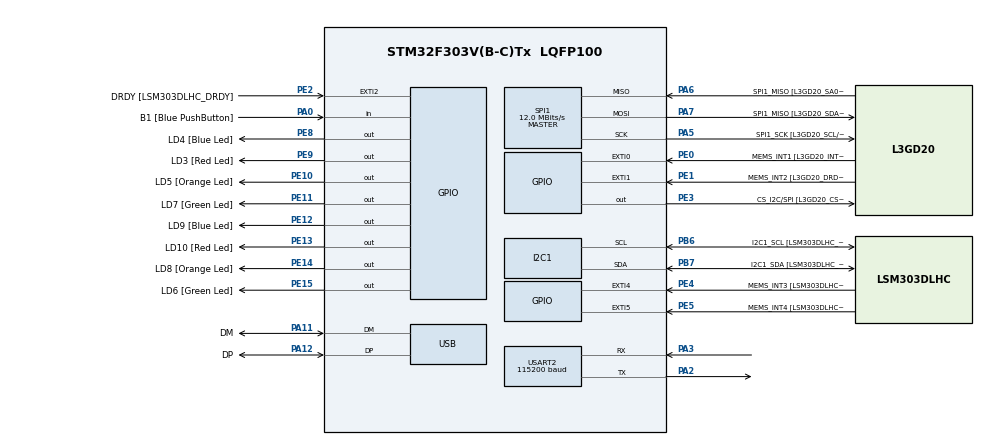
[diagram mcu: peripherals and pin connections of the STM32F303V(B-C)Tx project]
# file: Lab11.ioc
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I2C1.Timing=0x00201D2B
I2C1.Timing-I2C=0x2000090E
Mcu.Family=STM32F3
Mcu.Name=STM32F303V(B-C)Tx
Mcu.Package=LQFP100
NVIC.PriorityGroup=NVIC_PRIORITYGROUP_0
PA0.GPIO_Label=B1 [Blue PushButton]
PA0.Signal=GPIO_Input
PA11.GPIO_Label=DM
PA11.Mode=Device
PA11.Signal=USB_DM
PA12.GPIO_Label=DP
PA12.Mode=Device
PA12.Signal=USB_DP
PA13.GPIO_Label=SWDIO
PA13.Mode=Serial_Wire
PA13.Signal=SYS_JTMS-SWDIO
PA14.GPIO_Label=SWCLK
PA14.Mode=Serial_Wire
PA14.Signal=SYS_JTCK-SWCLK
PA2.Mode=Asynchronous
PA2.Signal=USART2_TX
PA3.Mode=Asynchronous
PA3.Signal=USART2_RX
PA5.GPIO_Label=SPI1_SCK [L3GD20_SCL/SPC]
PA5.Mode=Full_Duplex_Master
PA5.Signal=SPI1_SCK
PA6.GPIO_Label=SPI1_MISO [L3GD20_SA0/SDO]
PA6.Mode=Full_Duplex_Master
PA6.Signal=SPI1_MISO
PA7.GPIO_Label=SPI1_MISO [L3GD20_SDA/SDI/SDO]
PA7.Mode=Full_Duplex_Master
PA7.Signal=SPI1_MOSI
PB3.GPIO_Label=SWO
PB3.Signal=SYS_JTDO-TRACESWO
PB6.GPIO_Label=I2C1_SCL [LSM303DLHC_SCL]
PB6.GPIO_Pu=GPIO_PULLUP
PB6.Mode=I2C
PB6.Signal=I2C1_SCL
PB7.GPIO_Label=I2C1_SDA [LSM303DLHC_SDA]
PB7.GPIO_Pu=GPIO_PULLUP
PB7.Mode=I2C
PB7.Signal=I2C1_SDA
PC14-OSC32_IN.GPIO_Label=OSC32_IN
PC14-OSC32_IN.Signal=RCC_OSC32_IN
PC15-OSC32_OUT.GPIO_Label=OSC32_OUT
PC15-OSC32_OUT.Signal=RCC_OSC32_OUT
PE0.GPIO_Label=MEMS_INT1 [L3GD20_INT1]
PE0.GPIO_ModeDefaultEXTI=GPIO_MODE_EVT_RISING
PE0.Signal=GPXTI0
PE1.GPIO_Label=MEMS_INT2 [L3GD20_DRDY/INT2]
PE1.GPIO_ModeDefaultEXTI=GPIO_MODE_EVT_RISING
PE1.Signal=GPXTI1
PE10.GPIO_Label=LD5 [Orange Led]
PE10.Signal=GPIO_Output
PE11.GPIO_Label=LD7 [Green Led]
PE11.Signal=GPIO_Output
PE12.GPIO_Label=LD9 [Blue Led]
PE12.Signal=GPIO_Output
PE13.GPIO_Label=LD10 [Red Led]
PE13.Signal=GPIO_Output
PE14.GPIO_Label=LD8 [Orange Led]
PE14.Signal=GPIO_Output
PE15.GPIO_Label=LD6 [Green Led]
PE15.Signal=GPIO_Output
PE2.GPIO_Label=DRDY [LSM303DLHC_DRDY]
PE2.GPIO_ModeDefaultEXTI=GPIO_MODE_EVT_RISING
PE2.Signal=GPXTI2
PE3.GPIO_Label=CS_I2C/SPI [L3GD20_CS_I2C/SPI]
PE3.Signal=GPIO_Output
PE4.GPIO_Label=MEMS_INT3 [LSM303DLHC_INT1]
PE4.GPIO_ModeDefaultEXTI=GPIO_MODE_EVT_RISING
PE4.Signal=GPXTI4
PE5.GPIO_Label=MEMS_INT4 [LSM303DLHC_INT2]
PE5.GPIO_ModeDefaultEXTI=GPIO_MODE_EVT_RISING
PE5.Signal=GPXTI5
PE8.GPIO_Label=LD4 [Blue Led]
PE8.Signal=GPIO_Output
PE9.GPIO_Label=LD3 [Red Led]
PE9.Signal=GPIO_Output
PF0-OSC_IN.GPIO_Label=OSC_IN
PF0-OSC_IN.Mode=HSE-External-Clock-Source
PF0-OSC_IN.Signal=RCC_OSC_IN
PF1-OSC_OUT.GPIO_Label=OSC_OUT
PF1-OSC_OUT.Signal=RCC_OSC_OUT
ProjectManager.HeapSize=0x200
ProjectManager.StackSize=0x400
ProjectManager.TargetToolchain=CMake
RCC.AHBFreq_Value=48000000
RCC.APB1CLKDivider=RCC_HCLK_DIV2
RCC.APB1Freq_Value=24000000
RCC.APB1TimFreq_Value=48000000
RCC.APB2Freq_Value=48000000
RCC.APB2TimFreq_Value=48000000
RCC.CortexFreq_Value=48000000
RCC.HCLKFreq_Value=48000000
RCC.HSE_VALUE=8000000
RCC.HSI_VALUE=8000000
RCC.LSE_VALUE=32768
RCC.PLLMUL=RCC_PLL_MUL6
RCC.SYSCLKFreq_VALUE=48000000
RCC.SYSCLKSourceVirtual=RCC_SYSCLKSOURCE_PLLCLK
RCC.USBFreq_Value=48000000
SPI1.BaudRatePrescaler=SPI_BAUDRATEPRESCALER_4
SPI1.BaudRatePrescaler-Full_Duplex_Master=SPI_BAUDRATEPRESCALER_2
SPI1.CalculateBaudRate=12.0 MBits/s
SPI1.CalculateBaudRate-Full_Duplex_Master=24.0 MBits/s
SPI1.Direction=SPI_DIRECTION_2LINES
SPI1.Mode=SPI_MODE_MASTER
SPI1.Mode-Full_Duplex_Master=SPI_MODE_MASTER
SPI1.VirtualType=VM_MASTER
USART2.BaudRate=115200
USART2.VirtualMode-Asynchronous=VM_ASYNC
board=STM32F3DISCOVERY

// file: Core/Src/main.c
  /* USER CODE BEGIN Header */
  /**
    ******************************************************************************
    * @file           : main.c
    * @brief          : Main program body
    ******************************************************************************
    * @attention
    *
    * Copyright (c) 2026 STMicroelectronics.
    * All rights reserved.
    *
    * This software is licensed under terms that can be found in the LICENSE file
    * in the root directory of this software component.
    * If no LICENSE file comes with this software, it is provided AS-IS.
    *
    ******************************************************************************
    */
  /* USER CODE END Header */
  /* Includes ------------------------------------------------------------------*/
  #include "main.h"

  /* Private includes ----------------------------------------------------------*/
  /* USER CODE BEGIN Includes */
  #include <stdio.h>
  #include <string.h>
  #include <math.h>
  /* USER CODE END Includes */

  /* Private typedef -----------------------------------------------------------*/

  /* Private define ------------------------------------------------------------*/

  /* Private macro -------------------------------------------------------------*/

  /* Private variables ---------------------------------------------------------*/
  I2C_HandleTypeDef hi2c1;

  SPI_HandleTypeDef hspi1;

  UART_HandleTypeDef huart2;

  PCD_HandleTypeDef hpcd_USB_FS;

  /* USER CODE BEGIN PV */
  //task02 begin
  // PID Constants
  float Kp = 10.0f;
  float Ki = 0.0f;
  float Kd = 0.0f;

  // PID State Variables
  float setpoint = 0.0f;
  float integral = 0.0f;
  float prev_error = 0.0f;
  uint32_t prev_time = 0;
  //task02 end
  /* USER CODE END PV */

  /* Private function prototypes -----------------------------------------------*/
  void SystemClock_Config(void);
  static void MX_GPIO_Init(void);
  static void MX_I2C1_Init(void);
  static void MX_SPI1_Init(void);
  static void MX_USB_PCD_Init(void);
  static void MX_USART2_UART_Init(void);

  /* Private user code ---------------------------------------------------------*/

  /**
    * @brief  The application entry point.
    * @retval int
    */
  int main(void)
  {

    /* MCU Configuration--------------------------------------------------------*/

    /* Reset of all peripherals, Initializes the Flash interface and the Systick. */
    HAL_Init();

    /* Configure the system clock */
    SystemClock_Config();

    /* Initialize all configured peripherals */
    MX_GPIO_Init();
    MX_I2C1_Init();
    MX_SPI1_Init();
    MX_USB_PCD_Init();
    MX_USART2_UART_Init();
    /* USER CODE BEGIN 2 */
    //task01 begin
    // Variables for LSM303AGR initialization
    uint8_t wake_data = 0x67;
    uint8_t mode_data = 0x00;

    // Wake up the accelerometer by writing 0x67 to the CTRL_REG1_A register (0x20)
    HAL_I2C_Mem_Write(&hi2c1, 0x32, 0x20, 1, &wake_data, 1, HAL_MAX_DELAY);

    // Set the accelerometer to Normal mode by writing 0x00 to the CTRL_REG4_A register (0x23)
    HAL_I2C_Mem_Write(&hi2c1, 0x32, 0x23, 1, &mode_data, 1, HAL_MAX_DELAY);
    //task01 end
    /* USER CODE END 2 */

    /* Infinite loop */
    /* USER CODE BEGIN WHILE */
    // Test UART transmission before any I2C communication starts
    HAL_UART_Transmit(&huart2, (uint8_t*)"Booting\r\n", 9, HAL_MAX_DELAY);
    while (1)
    {
      /* USER CODE END WHILE */

      /* USER CODE BEGIN 3 */
      //task02 begin
      // 1. Read I2C Data
      uint8_t x_l = 0, x_h = 0;
      uint8_t y_l = 0, y_h = 0;
      uint8_t z_l = 0, z_h = 0;

      HAL_I2C_Mem_Read(&hi2c1, 0x33, 0x28, 1, &x_l, 1, HAL_MAX_DELAY);
      HAL_I2C_Mem_Read(&hi2c1, 0x33, 0x29, 1, &x_h, 1, HAL_MAX_DELAY);
      HAL_I2C_Mem_Read(&hi2c1, 0x33, 0x2A, 1, &y_l, 1, HAL_MAX_DELAY);
      HAL_I2C_Mem_Read(&hi2c1, 0x33, 0x2B, 1, &y_h, 1, HAL_MAX_DELAY);
      HAL_I2C_Mem_Read(&hi2c1, 0x33, 0x2C, 1, &z_l, 1, HAL_MAX_DELAY);
      HAL_I2C_Mem_Read(&hi2c1, 0x33, 0x2D, 1, &z_h, 1, HAL_MAX_DELAY);

      int16_t x_raw = (int16_t)((x_h << 8) | x_l);
      int16_t y_raw = (int16_t)((y_h << 8) | y_l);
      int16_t z_raw = (int16_t)((z_h << 8) | z_l);

      // 2. Calculate Pitch and Roll Angles
    float x_accel = x_raw * 3.9f;
    float y_accel = y_raw * 3.9f;
    float z_accel = z_raw * 3.9f;

    // Calculate the raw noisy angle
    float raw_pitch = atan2(-x_accel, sqrt((y_accel * y_accel) + (z_accel * z_accel))) * 57.2958f;
    float raw_roll  = atan2(y_accel, z_accel) * 57.2958f;

    // Apply a Low-Pass Filter (Trust 80% of the old smoothed value, and only 20% of the new noisy value)
    static float pitch_angle = 0.0f; // 'static' retains the value between loop iterations
    static float roll_angle = 0.0f;

    pitch_angle = (0.5f * pitch_angle) + (0.5f * raw_pitch);
    roll_angle  = (0.5f * roll_angle)  + (0.5f * raw_roll);

      // 3. Calculate Time Step (dt)
      uint32_t current_time = HAL_GetTick();
      float dt = (current_time - prev_time) / 1000.0f;
      prev_time = current_time;
      if (dt <= 0.0f) dt = 0.01f;

      // 4. PID Calculations[cite: 9]
      float error = setpoint - pitch_angle;
      float P_out = Kp * error;

      integral += (error * dt);
      if (integral > 400.0f) integral = 400.0f;
      if (integral < -400.0f) integral = -400.0f;
      float I_out = Ki * integral;

      float derivative = (error - prev_error) / dt;
      float D_out = Kd * derivative;

      float pid_output = P_out + I_out + D_out;
      prev_error = error;

      // 5. Motor Speed and Direction Mapping
      float motor_speed = fabs(pid_output);
      if (motor_speed > 999.0f) motor_speed = 999.0f; // Constrain to your Timer ARR

      // NOTE: Make sure GPIOD pins 6, 7, 8, 12 and htim3 are configured in CubeMX!
      if (pid_output > 0)
      {
          // Drive Forward[cite: 113]
          HAL_GPIO_WritePin(GPIOD, GPIO_PIN_12, GPIO_PIN_SET);   // Right Motor Dir[cite: 18]
          HAL_GPIO_WritePin(GPIOD, GPIO_PIN_8,  GPIO_PIN_RESET);

          HAL_GPIO_WritePin(GPIOD, GPIO_PIN_7,  GPIO_PIN_SET);   // Left Motor Dir[cite: 18]
          HAL_GPIO_WritePin(GPIOD, GPIO_PIN_6,  GPIO_PIN_RESET);
      }
      else
      {
          // Drive Backward[cite: 113]
          HAL_GPIO_WritePin(GPIOD, GPIO_PIN_12, GPIO_PIN_RESET); // Right Motor Dir[cite: 18]
          HAL_GPIO_WritePin(GPIOD, GPIO_PIN_8,  GPIO_PIN_SET);

          HAL_GPIO_WritePin(GPIOD, GPIO_PIN_7,  GPIO_PIN_RESET); // Left Motor Dir[cite: 18]
          HAL_GPIO_WritePin(GPIOD, GPIO_PIN_6,  GPIO_PIN_SET);
      }

      // Write PWM to motors[cite: 113]
      // __HAL_TIM_SET_COMPARE(&htim3, TIM_CHANNEL_1, (uint32_t)motor_speed); // Right PWM (D10)[cite: 18]
      // __HAL_TIM_SET_COMPARE(&htim3, TIM_CHANNEL_2, (uint32_t)motor_speed); // Left PWM (D9)[cite: 18]

      // 6. UART Transmission for Python Script
      char sensor_buf[60];
      sprintf(sensor_buf, "0,%d,%d,0\r\n", (int)pitch_angle, (int)roll_angle);
      HAL_UART_Transmit(&huart2, (uint8_t*)sensor_buf, strlen(sensor_buf), HAL_MAX_DELAY);

      HAL_Delay(5); // Shortened delay for better PID response time
      //task02 end
      //task01 begin
      // uint8_t x_l = 0, x_h = 0;
      // uint8_t y_l = 0, y_h = 0;
      // uint8_t z_l = 0, z_h = 0;

      // // Read the low and high bytes for the X, Y, and Z axes
      // HAL_I2C_Mem_Read(&hi2c1, 0x33, 0x28, 1, &x_l, 1, HAL_MAX_DELAY);
      // HAL_I2C_Mem_Read(&hi2c1, 0x33, 0x29, 1, &x_h, 1, HAL_MAX_DELAY);
      // HAL_I2C_Mem_Read(&hi2c1, 0x33, 0x2A, 1, &y_l, 1, HAL_MAX_DELAY);
      // HAL_I2C_Mem_Read(&hi2c1, 0x33, 0x2B, 1, &y_h, 1, HAL_MAX_DELAY);
      // HAL_I2C_Mem_Read(&hi2c1, 0x33, 0x2C, 1, &z_l, 1, HAL_MAX_DELAY);
      // HAL_I2C_Mem_Read(&hi2c1, 0x33, 0x2D, 1, &z_h, 1, HAL_MAX_DELAY);

      // // Combine the bytes into signed 16-bit integers (Must be declared before sprintf)
      // int16_t x_raw = (int16_t)((x_h << 8) | x_l);
      // int16_t y_raw = (int16_t)((y_h << 8) | y_l);
      // int16_t z_raw = (int16_t)((z_h << 8) | z_l);

      // // ---------------------------------------------------------
      // // Modified UART Transmission for Python Script
      // // ---------------------------------------------------------
      // char sensor_buf[60];

      // // Output format: Temp, X, Y, Z (casted to int for the Python parser)
      // sprintf(sensor_buf, "0,%d,%d,%d\r\n", (int)x_raw, (int)y_raw, (int)z_raw);

      // // Transmit exactly once per loop iteration
      // HAL_UART_Transmit(&huart2, (uint8_t*)sensor_buf, strlen(sensor_buf), HAL_MAX_DELAY);

      // // Delay to prevent terminal flooding (e.g., 100ms)
      // HAL_Delay(100);
      //task01 end
      //task01_old begin
      // // ---------------------------------------------------------
      // // 1. Verify Communication (Your existing test)
      // // ---------------------------------------------------------

      // uint8_t who_am_i = 0;
      // char buffer[30];
      // HAL_I2C_Mem_Read(&hi2c1, 0x33, 0x0F, 1, &who_am_i, 1, HAL_MAX_DELAY);
      // sprintf(buffer, "WHO_AM_I: 0x%02X\r\n", who_am_i);
      // HAL_UART_Transmit(&huart2, (uint8_t*)buffer, strlen(buffer), HAL_MAX_DELAY);
      // // ---------------------------------------------------------
      // // 2. Read Accelerometer Data (The new code)
      // // ---------------------------------------------------------
      // uint8_t x_l = 0, x_h = 0;
      // uint8_t y_l = 0, y_h = 0;
      // uint8_t z_l = 0, z_h = 0;

      // // Read the low and high bytes for the X, Y, and Z axes
      // HAL_I2C_Mem_Read(&hi2c1, 0x33, 0x28, 1, &x_l, 1, HAL_MAX_DELAY);
      // HAL_I2C_Mem_Read(&hi2c1, 0x33, 0x29, 1, &x_h, 1, HAL_MAX_DELAY);
      // HAL_I2C_Mem_Read(&hi2c1, 0x33, 0x2A, 1, &y_l, 1, HAL_MAX_DELAY);
      // HAL_I2C_Mem_Read(&hi2c1, 0x33, 0x2B, 1, &y_h, 1, HAL_MAX_DELAY);
      // HAL_I2C_Mem_Read(&hi2c1, 0x33, 0x2C, 1, &z_l, 1, HAL_MAX_DELAY);
      // HAL_I2C_Mem_Read(&hi2c1, 0x33, 0x2D, 1, &z_h, 1, HAL_MAX_DELAY);

      // // Combine the bytes into signed 16-bit integers
      // int16_t x_raw = (int16_t)((x_h << 8) | x_l);
      // int16_t y_raw = (int16_t)((y_h << 8) | y_l);
      // int16_t z_raw = (int16_t)((z_h << 8) | z_l);

      // // Scale the raw values to acceleration units (multiplying by 3.9 for LSM303AGR)
      // float x_accel = x_raw * 3.9f;
      // float y_accel = y_raw * 3.9f;
      // float z_accel = z_raw * 3.9f;

      // // Calculate the tilt angle (Pitch)
      // // atan2 returns radians, multiply by 57.2958 to convert to degrees
      // float pitch_angle = atan2(-x_accel, sqrt((y_accel * y_accel) + (z_accel * z_accel))) * 57.2958f;

      // // Calculate Roll:
      // float roll_angle = atan2(y_accel, z_accel) * 57.2958f;
      // // Format and print the scaled values to the terminal
      // char sensor_buf[60];
      // sprintf(sensor_buf, "X: %.2f, Y: %.2f, Z: %.2f\r\n", x_accel, y_accel, z_accel);
      // sprintf(sensor_buf, "Pitch Angle: %.2f degrees\r\n", pitch_angle);
      // HAL_UART_Transmit(&huart2, (uint8_t*)sensor_buf, strlen(sensor_buf), HAL_MAX_DELAY);
      // HAL_UART_Transmit(&huart2, (uint8_t*)sensor_buf, strlen(sensor_buf), HAL_MAX_DELAY);
      // // Delay to prevent terminal flooding (e.g., 100ms)
      // HAL_Delay(100);
      //task01_old end
    }
    /* USER CODE END 3 */
  }

  /**
    * @brief System Clock Configuration
    * @retval None
    */
  void SystemClock_Config(void)
  {
    RCC_OscInitTypeDef RCC_OscInitStruct = {0};
    RCC_ClkInitTypeDef RCC_ClkInitStruct = {0};
    RCC_PeriphCLKInitTypeDef PeriphClkInit = {0};

    /** Initializes the RCC Oscillators according to the specified parameters
    * in the RCC_OscInitTypeDef structure.
    */
    RCC_OscInitStruct.OscillatorType = RCC_OSCILLATORTYPE_HSI|RCC_OSCILLATORTYPE_HSE;
    RCC_OscInitStruct.HSEState = RCC_HSE_BYPASS;
    RCC_OscInitStruct.HSEPredivValue = RCC_HSE_PREDIV_DIV1;
    RCC_OscInitStruct.HSIState = RCC_HSI_ON;
    RCC_OscInitStruct.HSICalibrationValue = RCC_HSICALIBRATION_DEFAULT;
    RCC_OscInitStruct.PLL.PLLState = RCC_PLL_ON;
    RCC_OscInitStruct.PLL.PLLSource = RCC_PLLSOURCE_HSE;
    RCC_OscInitStruct.PLL.PLLMUL = RCC_PLL_MUL6;
    if (HAL_RCC_OscConfig(&RCC_OscInitStruct) != HAL_OK)
    {
      Error_Handler();
    }

    /** Initializes the CPU, AHB and APB buses clocks
    */
    RCC_ClkInitStruct.ClockType = RCC_CLOCKTYPE_HCLK|RCC_CLOCKTYPE_SYSCLK
                                |RCC_CLOCKTYPE_PCLK1|RCC_CLOCKTYPE_PCLK2;
    RCC_ClkInitStruct.SYSCLKSource = RCC_SYSCLKSOURCE_PLLCLK;
    RCC_ClkInitStruct.AHBCLKDivider = RCC_SYSCLK_DIV1;
    RCC_ClkInitStruct.APB1CLKDivider = RCC_HCLK_DIV2;
    RCC_ClkInitStruct.APB2CLKDivider = RCC_HCLK_DIV1;

    if (HAL_RCC_ClockConfig(&RCC_ClkInitStruct, FLASH_LATENCY_1) != HAL_OK)
    {
      Error_Handler();
    }
    PeriphClkInit.PeriphClockSelection = RCC_PERIPHCLK_USB|RCC_PERIPHCLK_USART2
                                |RCC_PERIPHCLK_I2C1;
    PeriphClkInit.Usart2ClockSelection = RCC_USART2CLKSOURCE_PCLK1;
    PeriphClkInit.I2c1ClockSelection = RCC_I2C1CLKSOURCE_HSI;
    PeriphClkInit.USBClockSelection = RCC_USBCLKSOURCE_PLL;
    if (HAL_RCCEx_PeriphCLKConfig(&PeriphClkInit) != HAL_OK)
    {
      Error_Handler();
    }
  }

  /**
    * @brief I2C1 Initialization Function
    * @param None
    * @retval None
    */
  static void MX_I2C1_Init(void)
  {

    hi2c1.Instance = I2C1;
    hi2c1.Init.Timing = 0x00201D2B;
    hi2c1.Init.OwnAddress1 = 0;
    hi2c1.Init.AddressingMode = I2C_ADDRESSINGMODE_7BIT;
    hi2c1.Init.DualAddressMode = I2C_DUALADDRESS_DISABLE;
    hi2c1.Init.OwnAddress2 = 0;
    hi2c1.Init.OwnAddress2Masks = I2C_OA2_NOMASK;
    hi2c1.Init.GeneralCallMode = I2C_GENERALCALL_DISABLE;
    hi2c1.Init.NoStretchMode = I2C_NOSTRETCH_DISABLE;
    if (HAL_I2C_Init(&hi2c1) != HAL_OK)
    {
      Error_Handler();
    }

    /** Configure Analogue filter
    */
    if (HAL_I2CEx_ConfigAnalogFilter(&hi2c1, I2C_ANALOGFILTER_ENABLE) != HAL_OK)
    {
      Error_Handler();
    }

    /** Configure Digital filter
    */
    if (HAL_I2CEx_ConfigDigitalFilter(&hi2c1, 0) != HAL_OK)
    {
      Error_Handler();
    }

  }

  /**
    * @brief SPI1 Initialization Function
    * @param None
    * @retval None
    */
  static void MX_SPI1_Init(void)
  {

    /* SPI1 parameter configuration*/
    hspi1.Instance = SPI1;
    hspi1.Init.Mode = SPI_MODE_MASTER;
    hspi1.Init.Direction = SPI_DIRECTION_2LINES;
    hspi1.Init.DataSize = SPI_DATASIZE_4BIT;
    hspi1.Init.CLKPolarity = SPI_POLARITY_LOW;
    hspi1.Init.CLKPhase = SPI_PHASE_1EDGE;
    hspi1.Init.NSS = SPI_NSS_SOFT;
    hspi1.Init.BaudRatePrescaler = SPI_BAUDRATEPRESCALER_4;
    hspi1.Init.FirstBit = SPI_FIRSTBIT_MSB;
    hspi1.Init.TIMode = SPI_TIMODE_DISABLE;
    hspi1.Init.CRCCalculation = SPI_CRCCALCULATION_DISABLE;
    hspi1.Init.CRCPolynomial = 7;
    hspi1.Init.CRCLength = SPI_CRC_LENGTH_DATASIZE;
    hspi1.Init.NSSPMode = SPI_NSS_PULSE_ENABLE;
    if (HAL_SPI_Init(&hspi1) != HAL_OK)
    {
      Error_Handler();
    }

  }

  /**
    * @brief USART2 Initialization Function
    * @param None
    * @retval None
    */
  static void MX_USART2_UART_Init(void)
  {

    huart2.Instance = USART2;
    huart2.Init.BaudRate = 115200;
    huart2.Init.WordLength = UART_WORDLENGTH_8B;
    huart2.Init.StopBits = UART_STOPBITS_1;
    huart2.Init.Parity = UART_PARITY_NONE;
    huart2.Init.Mode = UART_MODE_TX_RX;
    huart2.Init.HwFlowCtl = UART_HWCONTROL_NONE;
    huart2.Init.OverSampling = UART_OVERSAMPLING_16;
    huart2.Init.OneBitSampling = UART_ONE_BIT_SAMPLE_DISABLE;
    huart2.AdvancedInit.AdvFeatureInit = UART_ADVFEATURE_NO_INIT;
    if (HAL_UART_Init(&huart2) != HAL_OK)
    {
      Error_Handler();
    }

  }

  /**
    * @brief USB Initialization Function
    * @param None
    * @retval None
    */
  static void MX_USB_PCD_Init(void)
  {

    hpcd_USB_FS.Instance = USB;
    hpcd_USB_FS.Init.dev_endpoints = 8;
    hpcd_USB_FS.Init.speed = PCD_SPEED_FULL;
    hpcd_USB_FS.Init.phy_itface = PCD_PHY_EMBEDDED;
    hpcd_USB_FS.Init.low_power_enable = DISABLE;
    hpcd_USB_FS.Init.battery_charging_enable = DISABLE;
    if (HAL_PCD_Init(&hpcd_USB_FS) != HAL_OK)
    {
      Error_Handler();
    }

  }

  /**
    * @brief GPIO Initialization Function
    * @param None
    * @retval None
    */
  static void MX_GPIO_Init(void)
  {
    GPIO_InitTypeDef GPIO_InitStruct = {0};

    /* GPIO Ports Clock Enable */
    __HAL_RCC_GPIOE_CLK_ENABLE();
    __HAL_RCC_GPIOC_CLK_ENABLE();
    __HAL_RCC_GPIOF_CLK_ENABLE();
    __HAL_RCC_GPIOA_CLK_ENABLE();
    __HAL_RCC_GPIOB_CLK_ENABLE();

    /*Configure GPIO pin Output Level */
    HAL_GPIO_WritePin(GPIOE, CS_I2C_SPI_Pin|LD4_Pin|LD3_Pin|LD5_Pin
                            |LD7_Pin|LD9_Pin|LD10_Pin|LD8_Pin
                            |LD6_Pin, GPIO_PIN_RESET);

    /*Configure GPIO pins : DRDY_Pin MEMS_INT3_Pin MEMS_INT4_Pin MEMS_INT1_Pin
                            MEMS_INT2_Pin */
    GPIO_InitStruct.Pin = DRDY_Pin|MEMS_INT3_Pin|MEMS_INT4_Pin|MEMS_INT1_Pin
                            |MEMS_INT2_Pin;
    GPIO_InitStruct.Mode = GPIO_MODE_EVT_RISING;
    GPIO_InitStruct.Pull = GPIO_NOPULL;
    HAL_GPIO_Init(GPIOE, &GPIO_InitStruct);

    /*Configure GPIO pins : CS_I2C_SPI_Pin LD4_Pin LD3_Pin LD5_Pin
                            LD7_Pin LD9_Pin LD10_Pin LD8_Pin
                            LD6_Pin */
    GPIO_InitStruct.Pin = CS_I2C_SPI_Pin|LD4_Pin|LD3_Pin|LD5_Pin
                            |LD7_Pin|LD9_Pin|LD10_Pin|LD8_Pin
                            |LD6_Pin;
    GPIO_InitStruct.Mode = GPIO_MODE_OUTPUT_PP;
    GPIO_InitStruct.Pull = GPIO_NOPULL;
    GPIO_InitStruct.Speed = GPIO_SPEED_FREQ_LOW;
    HAL_GPIO_Init(GPIOE, &GPIO_InitStruct);

    /*Configure GPIO pin : B1_Pin */
    GPIO_InitStruct.Pin = B1_Pin;
    GPIO_InitStruct.Mode = GPIO_MODE_INPUT;
    GPIO_InitStruct.Pull = GPIO_NOPULL;
    HAL_GPIO_Init(B1_GPIO_Port, &GPIO_InitStruct);

  }

  /**
    * @brief  This function is executed in case of error occurrence.
    * @retval None
    */
  void Error_Handler(void)
  {
    __disable_irq();
    while (1)
    {
    }
  }
  #ifdef USE_FULL_ASSERT
  /**
    * @brief  Reports the name of the source file and the source line number
    *         where the assert_param error has occurred.
    * @param  file: pointer to the source file name
    * @param  line: assert_param error line source number
    * @retval None
    */
  void assert_failed(uint8_t *file, uint32_t line)
  {
  }
  #endif /* USE_FULL_ASSERT */
